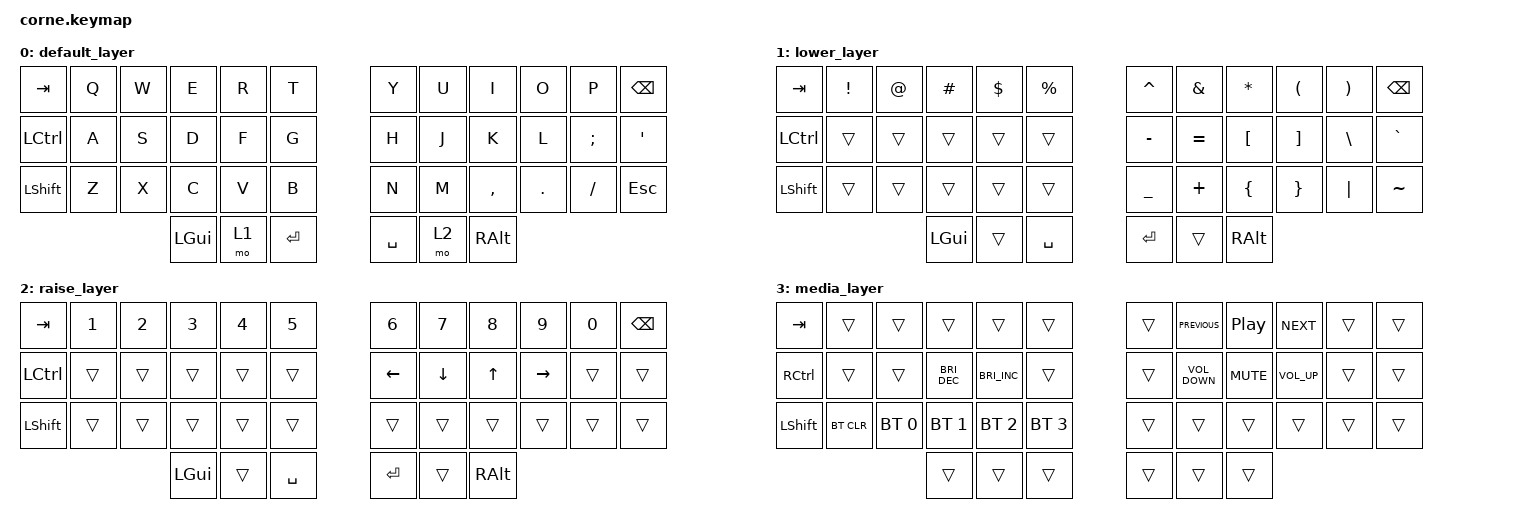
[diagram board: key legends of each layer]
/*
 * Copyright (c) 2020 The ZMK Contributors
 *
 * SPDX-License-Identifier: MIT
 */

#include <behaviors.dtsi>
#include <dt-bindings/zmk/bt.h>
#include <dt-bindings/zmk/keys.h>

/ {
    combos {
        compatible = "zmk,combos";

        escape {
            bindings = <&kp ESCAPE>;
            key-positions = <19 20>;
        };
    };

    keymap {
        compatible = "zmk,keymap";

        default_layer {
            bindings = <
&kp TAB    &kp Q  &kp W  &kp E     &kp R  &kp T        &kp Y      &kp U  &kp I      &kp O    &kp P     &kp BSPC
&kp LCTRL  &kp A  &kp S  &kp D     &kp F  &kp G        &kp H      &kp J  &kp K      &kp L    &kp SEMI  &kp SQT
&kp LSHFT  &kp Z  &kp X  &kp C     &kp V  &kp B        &kp N      &kp M  &kp COMMA  &kp DOT  &kp FSLH  &kp ESC
                         &kp LGUI  &mo 1  &kp ENTER    &kp SPACE  &mo 2  &kp RALT
            >;
        };

        lower_layer {
            bindings = <
&kp TAB    &kp EXCL  &kp AT  &kp HASH  &kp DLLR  &kp PRCNT    &kp CARET  &kp AMPS   &kp ASTRK  &kp LPAR  &kp RPAR  &kp BSPC
&kp LCTRL  &trans    &trans  &trans    &trans    &trans       &kp MINUS  &kp EQUAL  &kp LBKT   &kp RBKT  &kp BSLH  &kp GRAVE
&kp LSHFT  &trans    &trans  &trans    &trans    &trans       &kp UNDER  &kp PLUS   &kp LBRC   &kp RBRC  &kp PIPE  &kp TILDE
                             &kp LGUI  &trans    &kp SPACE    &kp RET    &trans     &kp RALT
            >;
        };

        raise_layer {
            bindings = <
&kp TAB    &kp N1  &kp N2  &kp N3    &kp N4  &kp N5       &kp N6    &kp N7    &kp N8    &kp N9     &kp N0  &kp BSPC
&kp LCTRL  &trans  &trans  &trans    &trans  &trans       &kp LEFT  &kp DOWN  &kp UP    &kp RIGHT  &trans  &trans
&kp LSHFT  &trans  &trans  &trans    &trans  &trans       &trans    &trans    &trans    &trans     &trans  &trans
                           &kp LGUI  &trans  &kp SPACE    &kp RET   &trans    &kp RALT
            >;
        };

        media_layer {
            bindings = <
&kp TAB    &trans      &trans        &trans                &trans                &trans          &trans  &kp C_PREVIOUS     &kp C_PLAY_PAUSE  &kp C_NEXT       &trans  &trans
&kp RCTRL  &trans      &trans        &kp C_BRIGHTNESS_DEC  &kp C_BRIGHTNESS_INC  &trans          &trans  &kp C_VOLUME_DOWN  &kp C_MUTE        &kp C_VOLUME_UP  &trans  &trans
&kp LSHFT  &bt BT_CLR  &bt BT_SEL 0  &bt BT_SEL 1          &bt BT_SEL 2          &bt BT_SEL 3    &trans  &trans             &trans            &trans           &trans  &trans
                                     &trans                &trans                &trans          &trans  &trans             &trans
            >;
        };
    };

    conditional_layers {
        compatible = "zmk,conditional-layers";

        tri_layer {
            if-layers = <1 2>;
            then-layer = <3>;
        };
    };
};
